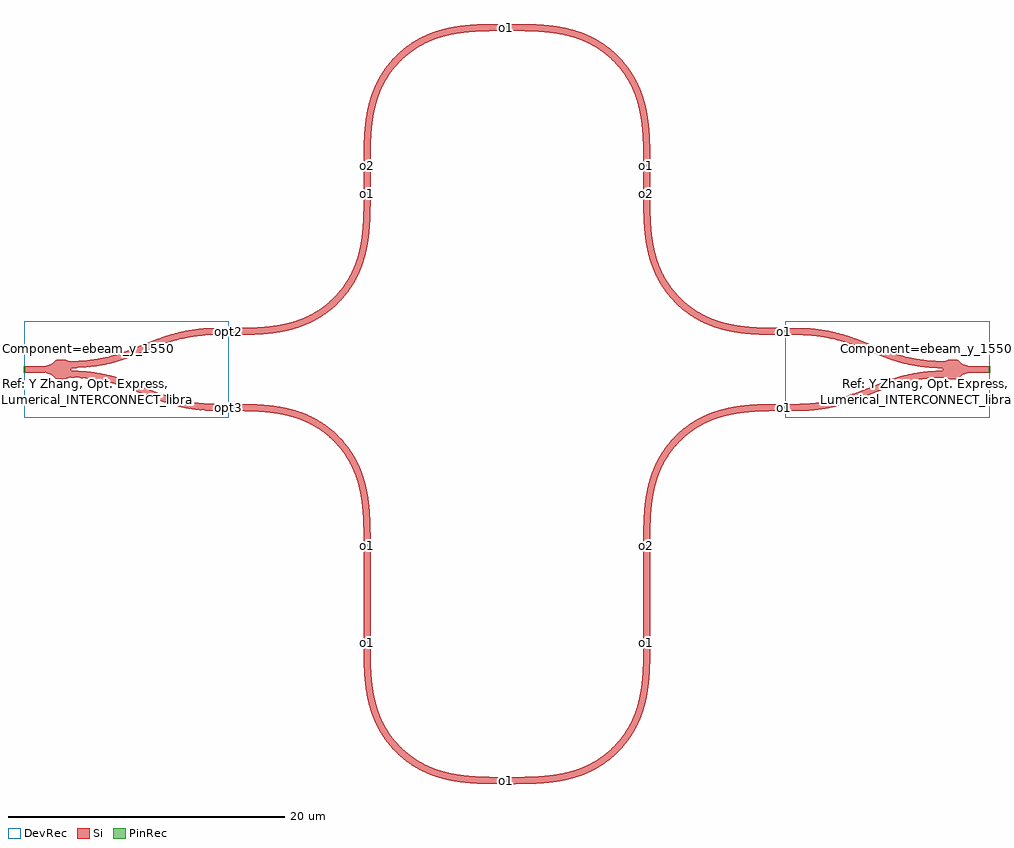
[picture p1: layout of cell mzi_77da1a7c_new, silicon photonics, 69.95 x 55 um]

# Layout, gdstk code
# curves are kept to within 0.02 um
import gdstk
lib = gdstk.Library(unit=1e-6, precision=1e-09)
def R(c, l, rs):  # rectangles x0, y0, x1, y1
    for r in rs: c.add(gdstk.rectangle(r[:2], r[2:], *l))
def P(c, l, *ps):  # polygons
    for p in ps: c.add(gdstk.Polygon(p, *l))
Si = (1, 0)
PinRec = (1, 10)
DevRec = (68, 0)

mzi_77da1a7c_new = lib.new_cell('mzi_77da1a7c_new')
R(mzi_77da1a7c_new, Si, [(27.4,-30,27.5,-29.5), (27.5,-30,27.64,-29.5), (17.15,-19.75,17.65,-12.75), (37.39,-19.75,37.89,-12.75), (6.5,-3,7.4,-2.5), (47.64,-3,47.65,-2.5), (47.65,-3,48.55,-2.5), (-7.4,-0.25,-6,0.25), (61.05,-0.25,62.45,0.25), (6.5,2.5,7.4,3), (47.64,2.5,47.65,3), (47.65,2.5,48.55,3), (17.15,12.75,17.65,14.75), (37.39,12.75,37.89,14.75), (27.4,24.5,27.5,25), (27.5,24.5,27.64,25)])
P(mzi_77da1a7c_new, Si, [(6.458,-3),(6.237,-2.997),(6.237,-2.497),(6.5,-2.5),(6.5,-3)],
  [(5.033,-2.908),(4.288,-2.79),(3.59,-2.634),(2.922,-2.442),(2.265,-2.21),(2.445,-1.744),(3.075,-1.966),(3.731,-2.154),(5.033,-2.404)],
  [(6.233,-2.997),(5.033,-2.908),(5.033,-2.404),(6.237,-2.497)],
  [(2.265,-2.21),(0.055,-1.356),(0.235,-0.89),(2.445,-1.744)],
  [(-0.762,-1.076),(-1.532,-0.874),(-2.334,-0.724),(-3.178,-0.63),(-4,-0.6),(-4,-0.1),(-3.16,-0.13),(-2.381,-0.212),(-1.565,-0.355),(-0.762,-0.555)],
  [(0.055,-1.356),(-0.762,-1.076),(-0.762,-0.555),(0.235,-0.89)],
  [(6.237,2.497),(6.237,2.997),(6.5,3),(6.5,2.5)],
  [(2.445,1.744),(2.267,2.211),(2.922,2.442),(3.59,2.634),(4.288,2.79),(5.033,2.908),(5.033,2.404),(3.731,2.154),(3.075,1.966)],
  [(5.033,2.404),(5.033,2.908),(6.237,2.997),(6.237,2.497)],
  [(0.235,0.89),(0.055,1.356),(2.265,2.21),(2.445,1.744)],
  [(-4,0.1),(-4,0.6),(-3.178,0.63),(-2.334,0.724),(-1.532,0.874),(-0.762,1.076),(-0.762,0.555),(-1.565,0.355),(-2.381,0.212),(-3.16,0.13)],
  [(-0.762,0.555),(-0.762,1.076),(0.055,1.356),(0.235,0.89)],
  [(-5.122,-0.662),(-5.442,-0.374),(-5.808,-0.255),(-6,-0.25),(-6,0.25),(-5.817,0.253),(-5.442,0.374),(-5.122,0.662)],
  [(-4.957,-0.703),(-5.122,-0.662),(-5.122,0.662),(-4.978,0.702),(-4.538,0.703),(-4.167,0.6),(-4,0.6),(-4,-0.6),(-4.167,-0.6),(-4.509,-0.701)],
  [(37.39,-12.703),(37.41,-11.064),(37.504,-9.743),(37.709,-8.521),(38.012,-7.489),(38.012,-9.709),(37.913,-10.989),(37.89,-12.75),(37.39,-12.75)],
  [(38.022,-7.463),(38.394,-6.62),(38.816,-5.909),(39.347,-5.214),(39.908,-4.633),(39.908,-5.338),(39.441,-5.893),(39.084,-6.417),(38.776,-6.972),(38.506,-7.594),(38.217,-8.544),(38.012,-9.709)],
  [(39.922,-4.62),(40.759,-3.953),(41.597,-3.46),(42.534,-3.067),(43.551,-2.788),(43.551,-3.3),(42.484,-3.616),(41.581,-4.033),(41.116,-4.316),(40.675,-4.634),(39.908,-5.338)],
  [(43.598,-2.778),(44.444,-2.637),(45.294,-2.554),(46.142,-2.514),(47.64,-2.5),(47.64,-3),(46.294,-3.01),(45.283,-3.056),(44.418,-3.145),(43.551,-3.3),(43.551,-2.788)],
  [(27.687,-30),(29.326,-29.98),(30.647,-29.886),(31.869,-29.681),(32.901,-29.378),(30.681,-29.378),(29.401,-29.477),(27.64,-29.5),(27.64,-30)],
  [(32.927,-29.368),(33.77,-28.996),(34.481,-28.574),(35.176,-28.043),(35.757,-27.482),(35.052,-27.482),(34.497,-27.949),(33.973,-28.306),(33.418,-28.614),(32.796,-28.884),(31.846,-29.173),(30.681,-29.378)],
  [(35.77,-27.468),(36.437,-26.631),(36.93,-25.793),(37.323,-24.856),(37.602,-23.839),(37.09,-23.839),(36.774,-24.906),(36.357,-25.809),(36.074,-26.274),(35.756,-26.715),(35.052,-27.482)],
  [(37.612,-23.792),(37.753,-22.946),(37.836,-22.096),(37.876,-21.248),(37.89,-19.75),(37.39,-19.75),(37.38,-21.096),(37.334,-22.107),(37.245,-22.972),(37.09,-23.839),(37.602,-23.839)],
  [(37.39,12.703),(37.41,11.064),(37.504,9.743),(37.709,8.521),(38.012,7.489),(38.012,9.709),(37.913,10.989),(37.89,12.75),(37.39,12.75)],
  [(38.022,7.463),(38.394,6.62),(38.816,5.909),(39.347,5.214),(39.908,4.633),(39.908,5.338),(39.441,5.893),(39.084,6.417),(38.776,6.972),(38.506,7.594),(38.217,8.544),(38.012,9.709)],
  [(39.922,4.62),(40.759,3.953),(41.597,3.46),(42.534,3.067),(43.551,2.788),(43.551,3.3),(42.484,3.616),(41.581,4.033),(41.116,4.316),(40.675,4.634),(39.908,5.338)],
  [(43.598,2.778),(44.444,2.637),(45.294,2.554),(46.142,2.514),(47.64,2.5),(47.64,3),(46.294,3.01),(45.283,3.056),(44.418,3.145),(43.551,3.3),(43.551,2.788)],
  [(27.687,25),(29.326,24.98),(30.647,24.886),(31.869,24.681),(32.901,24.378),(30.681,24.378),(29.401,24.477),(27.64,24.5),(27.64,25)],
  [(32.927,24.368),(33.77,23.996),(34.481,23.574),(35.176,23.043),(35.757,22.482),(35.052,22.482),(34.497,22.949),(33.973,23.306),(33.418,23.614),(32.796,23.884),(31.846,24.173),(30.681,24.378)],
  [(35.77,22.468),(36.437,21.631),(36.93,20.793),(37.323,19.856),(37.602,18.839),(37.09,18.839),(36.774,19.906),(36.357,20.809),(36.074,21.274),(35.756,21.715),(35.052,22.482)],
  [(37.612,18.792),(37.753,17.946),(37.836,17.096),(37.876,16.248),(37.89,14.75),(37.39,14.75),(37.38,16.096),(37.334,17.107),(37.245,17.972),(37.09,18.839),(37.602,18.839)],
  [(27.353,25),(25.714,24.98),(24.393,24.886),(23.171,24.681),(22.139,24.378),(24.359,24.378),(25.639,24.477),(27.4,24.5),(27.4,25)],
  [(22.113,24.368),(21.27,23.996),(20.559,23.574),(19.864,23.043),(19.283,22.482),(19.988,22.482),(20.543,22.949),(21.067,23.306),(21.622,23.614),(22.244,23.884),(23.194,24.173),(24.359,24.378)],
  [(19.27,22.468),(18.603,21.631),(18.11,20.793),(17.717,19.856),(17.438,18.839),(17.95,18.839),(18.266,19.906),(18.683,20.809),(18.966,21.274),(19.284,21.715),(19.988,22.482)],
  [(17.428,18.792),(17.287,17.946),(17.204,17.096),(17.164,16.248),(17.15,14.75),(17.65,14.75),(17.66,16.096),(17.706,17.107),(17.795,17.972),(17.95,18.839),(17.438,18.839)],
  [(7.447,2.5),(9.086,2.52),(10.407,2.614),(11.629,2.819),(12.661,3.122),(10.441,3.122),(9.161,3.023),(7.4,3),(7.4,2.5)],
  [(12.687,3.132),(13.53,3.504),(14.241,3.926),(14.936,4.457),(15.517,5.018),(14.812,5.018),(14.257,4.551),(13.733,4.194),(13.178,3.886),(12.556,3.616),(11.606,3.327),(10.441,3.122)],
  [(15.53,5.032),(16.197,5.869),(16.69,6.707),(17.083,7.644),(17.362,8.661),(16.85,8.661),(16.534,7.594),(16.117,6.691),(15.834,6.226),(15.516,5.785),(14.812,5.018)],
  [(17.372,8.708),(17.513,9.554),(17.596,10.404),(17.636,11.252),(17.65,12.75),(17.15,12.75),(17.14,11.404),(17.094,10.393),(17.005,9.528),(16.85,8.661),(17.362,8.661)],
  [(17.15,-19.797),(17.17,-21.436),(17.264,-22.757),(17.469,-23.979),(17.772,-25.011),(17.772,-22.791),(17.673,-21.511),(17.65,-19.75),(17.15,-19.75)],
  [(17.782,-25.037),(18.154,-25.88),(18.576,-26.591),(19.107,-27.286),(19.668,-27.867),(19.668,-27.162),(19.201,-26.607),(18.844,-26.083),(18.536,-25.528),(18.266,-24.906),(17.977,-23.956),(17.772,-22.791)],
  [(19.682,-27.88),(20.519,-28.547),(21.357,-29.04),(22.294,-29.433),(23.311,-29.712),(23.311,-29.2),(22.244,-28.884),(21.341,-28.467),(20.876,-28.184),(20.435,-27.866),(19.668,-27.162)],
  [(23.358,-29.722),(24.204,-29.863),(25.054,-29.946),(25.902,-29.986),(27.4,-30),(27.4,-29.5),(26.054,-29.49),(25.043,-29.444),(24.178,-29.355),(23.311,-29.2),(23.311,-29.712)],
  [(7.447,-2.5),(9.086,-2.52),(10.407,-2.614),(11.629,-2.819),(12.661,-3.122),(10.441,-3.122),(9.161,-3.023),(7.4,-3),(7.4,-2.5)],
  [(12.687,-3.132),(13.53,-3.504),(14.241,-3.926),(14.936,-4.457),(15.517,-5.018),(14.812,-5.018),(14.257,-4.551),(13.733,-4.194),(13.178,-3.886),(12.556,-3.616),(11.606,-3.327),(10.441,-3.122)],
  [(15.53,-5.032),(16.197,-5.869),(16.69,-6.707),(17.083,-7.644),(17.362,-8.661),(16.85,-8.661),(16.534,-7.594),(16.117,-6.691),(15.834,-6.226),(15.516,-5.785),(14.812,-5.018)],
  [(17.372,-8.708),(17.513,-9.554),(17.596,-10.404),(17.636,-11.252),(17.65,-12.75),(17.15,-12.75),(17.14,-11.404),(17.094,-10.393),(17.005,-9.528),(16.85,-8.661),(17.362,-8.661)],
  [(48.592,-3),(48.813,-2.997),(48.813,-2.497),(48.55,-2.5),(48.55,-3)],
  [(50.017,-2.908),(50.762,-2.79),(51.46,-2.634),(52.128,-2.442),(52.785,-2.21),(52.605,-1.744),(51.975,-1.966),(51.319,-2.154),(50.017,-2.404)],
  [(48.817,-2.997),(50.017,-2.908),(50.017,-2.404),(48.813,-2.497)],
  [(52.785,-2.21),(54.995,-1.356),(54.815,-0.89),(52.605,-1.744)],
  [(55.812,-1.076),(56.582,-0.874),(57.384,-0.724),(58.228,-0.63),(59.05,-0.6),(59.05,-0.1),(58.21,-0.13),(57.431,-0.212),(56.615,-0.355),(55.812,-0.555)],
  [(54.995,-1.356),(55.812,-1.076),(55.812,-0.555),(54.815,-0.89)],
  [(48.813,2.497),(48.813,2.997),(48.55,3),(48.55,2.5)],
  [(52.605,1.744),(52.783,2.211),(52.128,2.442),(51.46,2.634),(50.762,2.79),(50.017,2.908),(50.017,2.404),(51.319,2.154),(51.975,1.966)],
  [(50.017,2.404),(50.017,2.908),(48.813,2.997),(48.813,2.497)],
  [(54.815,0.89),(54.995,1.356),(52.785,2.21),(52.605,1.744)],
  [(59.05,0.1),(59.05,0.6),(58.228,0.63),(57.384,0.724),(56.582,0.874),(55.812,1.076),(55.812,0.555),(56.615,0.355),(57.431,0.212),(58.21,0.13)],
  [(55.812,0.555),(55.812,1.076),(54.995,1.356),(54.815,0.89)],
  [(60.172,-0.662),(60.492,-0.374),(60.858,-0.255),(61.05,-0.25),(61.05,0.25),(60.867,0.253),(60.492,0.374),(60.172,0.662)],
  [(60.007,-0.703),(60.172,-0.662),(60.172,0.662),(60.028,0.702),(59.588,0.703),(59.217,0.6),(59.05,0.6),(59.05,-0.6),(59.217,-0.6),(59.559,-0.701)])
R(mzi_77da1a7c_new, DevRec, [(27.4,-30,27.5,-29.5), (27.5,-30,27.64,-29.5), (17.15,-19.75,17.65,-12.75), (37.39,-19.75,37.89,-12.75), (-7.4,-3.5,7.4,3.5), (47.65,-3.5,62.45,3.5), (47.64,-3,47.65,-2.5), (47.64,2.5,47.65,3), (17.15,12.75,17.65,14.75), (37.39,12.75,37.89,14.75), (27.4,24.5,27.5,25), (27.5,24.5,27.64,25)])
P(mzi_77da1a7c_new, DevRec, [(37.39,-12.703),(37.41,-11.064),(37.504,-9.743),(37.709,-8.521),(38.012,-7.489),(38.012,-9.709),(37.913,-10.989),(37.89,-12.75),(37.39,-12.75)],
  [(38.022,-7.463),(38.394,-6.62),(38.816,-5.909),(39.347,-5.214),(39.908,-4.633),(39.908,-5.338),(39.441,-5.893),(39.084,-6.417),(38.776,-6.972),(38.506,-7.594),(38.217,-8.544),(38.012,-9.709)],
  [(39.922,-4.62),(40.759,-3.953),(41.597,-3.46),(42.534,-3.067),(43.551,-2.788),(43.551,-3.3),(42.484,-3.616),(41.581,-4.033),(41.116,-4.316),(40.675,-4.634),(39.908,-5.338)],
  [(43.598,-2.778),(44.444,-2.637),(45.294,-2.554),(46.142,-2.514),(47.64,-2.5),(47.64,-3),(46.294,-3.01),(45.283,-3.056),(44.418,-3.145),(43.551,-3.3),(43.551,-2.788)],
  [(27.687,-30),(29.326,-29.98),(30.647,-29.886),(31.869,-29.681),(32.901,-29.378),(30.681,-29.378),(29.401,-29.477),(27.64,-29.5),(27.64,-30)],
  [(32.927,-29.368),(33.77,-28.996),(34.481,-28.574),(35.176,-28.043),(35.757,-27.482),(35.052,-27.482),(34.497,-27.949),(33.973,-28.306),(33.418,-28.614),(32.796,-28.884),(31.846,-29.173),(30.681,-29.378)],
  [(35.77,-27.468),(36.437,-26.631),(36.93,-25.793),(37.323,-24.856),(37.602,-23.839),(37.09,-23.839),(36.774,-24.906),(36.357,-25.809),(36.074,-26.274),(35.756,-26.715),(35.052,-27.482)],
  [(37.612,-23.792),(37.753,-22.946),(37.836,-22.096),(37.876,-21.248),(37.89,-19.75),(37.39,-19.75),(37.38,-21.096),(37.334,-22.107),(37.245,-22.972),(37.09,-23.839),(37.602,-23.839)],
  [(37.39,12.703),(37.41,11.064),(37.504,9.743),(37.709,8.521),(38.012,7.489),(38.012,9.709),(37.913,10.989),(37.89,12.75),(37.39,12.75)],
  [(38.022,7.463),(38.394,6.62),(38.816,5.909),(39.347,5.214),(39.908,4.633),(39.908,5.338),(39.441,5.893),(39.084,6.417),(38.776,6.972),(38.506,7.594),(38.217,8.544),(38.012,9.709)],
  [(39.922,4.62),(40.759,3.953),(41.597,3.46),(42.534,3.067),(43.551,2.788),(43.551,3.3),(42.484,3.616),(41.581,4.033),(41.116,4.316),(40.675,4.634),(39.908,5.338)],
  [(43.598,2.778),(44.444,2.637),(45.294,2.554),(46.142,2.514),(47.64,2.5),(47.64,3),(46.294,3.01),(45.283,3.056),(44.418,3.145),(43.551,3.3),(43.551,2.788)],
  [(27.687,25),(29.326,24.98),(30.647,24.886),(31.869,24.681),(32.901,24.378),(30.681,24.378),(29.401,24.477),(27.64,24.5),(27.64,25)],
  [(32.927,24.368),(33.77,23.996),(34.481,23.574),(35.176,23.043),(35.757,22.482),(35.052,22.482),(34.497,22.949),(33.973,23.306),(33.418,23.614),(32.796,23.884),(31.846,24.173),(30.681,24.378)],
  [(35.77,22.468),(36.437,21.631),(36.93,20.793),(37.323,19.856),(37.602,18.839),(37.09,18.839),(36.774,19.906),(36.357,20.809),(36.074,21.274),(35.756,21.715),(35.052,22.482)],
  [(37.612,18.792),(37.753,17.946),(37.836,17.096),(37.876,16.248),(37.89,14.75),(37.39,14.75),(37.38,16.096),(37.334,17.107),(37.245,17.972),(37.09,18.839),(37.602,18.839)],
  [(27.353,25),(25.714,24.98),(24.393,24.886),(23.171,24.681),(22.139,24.378),(24.359,24.378),(25.639,24.477),(27.4,24.5),(27.4,25)],
  [(22.113,24.368),(21.27,23.996),(20.559,23.574),(19.864,23.043),(19.283,22.482),(19.988,22.482),(20.543,22.949),(21.067,23.306),(21.622,23.614),(22.244,23.884),(23.194,24.173),(24.359,24.378)],
  [(19.27,22.468),(18.603,21.631),(18.11,20.793),(17.717,19.856),(17.438,18.839),(17.95,18.839),(18.266,19.906),(18.683,20.809),(18.966,21.274),(19.284,21.715),(19.988,22.482)],
  [(17.428,18.792),(17.287,17.946),(17.204,17.096),(17.164,16.248),(17.15,14.75),(17.65,14.75),(17.66,16.096),(17.706,17.107),(17.795,17.972),(17.95,18.839),(17.438,18.839)],
  [(7.447,2.5),(9.086,2.52),(10.407,2.614),(11.629,2.819),(12.661,3.122),(10.441,3.122),(9.161,3.023),(7.4,3),(7.4,2.5)],
  [(12.687,3.132),(13.53,3.504),(14.241,3.926),(14.936,4.457),(15.517,5.018),(14.812,5.018),(14.257,4.551),(13.733,4.194),(13.178,3.886),(12.556,3.616),(11.606,3.327),(10.441,3.122)],
  [(15.53,5.032),(16.197,5.869),(16.69,6.707),(17.083,7.644),(17.362,8.661),(16.85,8.661),(16.534,7.594),(16.117,6.691),(15.834,6.226),(15.516,5.785),(14.812,5.018)],
  [(17.372,8.708),(17.513,9.554),(17.596,10.404),(17.636,11.252),(17.65,12.75),(17.15,12.75),(17.14,11.404),(17.094,10.393),(17.005,9.528),(16.85,8.661),(17.362,8.661)],
  [(17.15,-19.797),(17.17,-21.436),(17.264,-22.757),(17.469,-23.979),(17.772,-25.011),(17.772,-22.791),(17.673,-21.511),(17.65,-19.75),(17.15,-19.75)],
  [(17.782,-25.037),(18.154,-25.88),(18.576,-26.591),(19.107,-27.286),(19.668,-27.867),(19.668,-27.162),(19.201,-26.607),(18.844,-26.083),(18.536,-25.528),(18.266,-24.906),(17.977,-23.956),(17.772,-22.791)],
  [(19.682,-27.88),(20.519,-28.547),(21.357,-29.04),(22.294,-29.433),(23.311,-29.712),(23.311,-29.2),(22.244,-28.884),(21.341,-28.467),(20.876,-28.184),(20.435,-27.866),(19.668,-27.162)],
  [(23.358,-29.722),(24.204,-29.863),(25.054,-29.946),(25.902,-29.986),(27.4,-30),(27.4,-29.5),(26.054,-29.49),(25.043,-29.444),(24.178,-29.355),(23.311,-29.2),(23.311,-29.712)],
  [(7.447,-2.5),(9.086,-2.52),(10.407,-2.614),(11.629,-2.819),(12.661,-3.122),(10.441,-3.122),(9.161,-3.023),(7.4,-3),(7.4,-2.5)],
  [(12.687,-3.132),(13.53,-3.504),(14.241,-3.926),(14.936,-4.457),(15.517,-5.018),(14.812,-5.018),(14.257,-4.551),(13.733,-4.194),(13.178,-3.886),(12.556,-3.616),(11.606,-3.327),(10.441,-3.122)],
  [(15.53,-5.032),(16.197,-5.869),(16.69,-6.707),(17.083,-7.644),(17.362,-8.661),(16.85,-8.661),(16.534,-7.594),(16.117,-6.691),(15.834,-6.226),(15.516,-5.785),(14.812,-5.018)],
  [(17.372,-8.708),(17.513,-9.554),(17.596,-10.404),(17.636,-11.252),(17.65,-12.75),(17.15,-12.75),(17.14,-11.404),(17.094,-10.393),(17.005,-9.528),(16.85,-8.661),(17.362,-8.661)])
mzi_77da1a7c_new.add(gdstk.FlexPath([(-7.35,0),(-7.45,0)], 0.5, ends="flush", simple_path=True, layer=1, datatype=10))  # PinRec
mzi_77da1a7c_new.add(gdstk.FlexPath([(7.35,2.75),(7.45,2.75)], 0.5, ends="flush", simple_path=True, layer=1, datatype=10))  # PinRec
mzi_77da1a7c_new.add(gdstk.FlexPath([(7.35,-2.75),(7.45,-2.75)], 0.5, ends="flush", simple_path=True, layer=1, datatype=10))  # PinRec
mzi_77da1a7c_new.add(gdstk.FlexPath([(47.69,-2.75),(47.59,-2.75)], 0.5, ends="flush", simple_path=True, layer=1, datatype=10))  # PinRec
mzi_77da1a7c_new.add(gdstk.FlexPath([(47.6,-2.75),(47.7,-2.75)], 0.5, ends="flush", simple_path=True, layer=1, datatype=10))  # PinRec
mzi_77da1a7c_new.add(gdstk.FlexPath([(37.64,-19.7),(37.64,-19.8)], 0.5, ends="flush", simple_path=True, layer=1, datatype=10))  # PinRec
mzi_77da1a7c_new.add(gdstk.FlexPath([(37.64,-12.8),(37.64,-12.7)], 0.5, ends="flush", simple_path=True, layer=1, datatype=10))  # PinRec
mzi_77da1a7c_new.add(gdstk.FlexPath([(27.55,-29.75),(27.45,-29.75)], 0.5, ends="flush", simple_path=True, layer=1, datatype=10))  # PinRec
mzi_77da1a7c_new.add(gdstk.FlexPath([(27.59,-29.75),(27.69,-29.75)], 0.5, ends="flush", simple_path=True, layer=1, datatype=10))  # PinRec
mzi_77da1a7c_new.add(gdstk.FlexPath([(37.64,-12.7),(37.64,-12.8)], 0.5, ends="flush", simple_path=True, layer=1, datatype=10))  # PinRec
mzi_77da1a7c_new.add(gdstk.FlexPath([(47.59,-2.75),(47.69,-2.75)], 0.5, ends="flush", simple_path=True, layer=1, datatype=10))  # PinRec
mzi_77da1a7c_new.add(gdstk.FlexPath([(27.69,-29.75),(27.59,-29.75)], 0.5, ends="flush", simple_path=True, layer=1, datatype=10))  # PinRec
mzi_77da1a7c_new.add(gdstk.FlexPath([(37.64,-19.8),(37.64,-19.7)], 0.5, ends="flush", simple_path=True, layer=1, datatype=10))  # PinRec
mzi_77da1a7c_new.add(gdstk.FlexPath([(47.69,2.75),(47.59,2.75)], 0.5, ends="flush", simple_path=True, layer=1, datatype=10))  # PinRec
mzi_77da1a7c_new.add(gdstk.FlexPath([(47.6,2.75),(47.7,2.75)], 0.5, ends="flush", simple_path=True, layer=1, datatype=10))  # PinRec
mzi_77da1a7c_new.add(gdstk.FlexPath([(37.64,14.7),(37.64,14.8)], 0.5, ends="flush", simple_path=True, layer=1, datatype=10))  # PinRec
mzi_77da1a7c_new.add(gdstk.FlexPath([(37.64,12.8),(37.64,12.7)], 0.5, ends="flush", simple_path=True, layer=1, datatype=10))  # PinRec
mzi_77da1a7c_new.add(gdstk.FlexPath([(27.55,24.75),(27.45,24.75)], 0.5, ends="flush", simple_path=True, layer=1, datatype=10))  # PinRec
mzi_77da1a7c_new.add(gdstk.FlexPath([(27.59,24.75),(27.69,24.75)], 0.5, ends="flush", simple_path=True, layer=1, datatype=10))  # PinRec
mzi_77da1a7c_new.add(gdstk.FlexPath([(37.64,12.7),(37.64,12.8)], 0.5, ends="flush", simple_path=True, layer=1, datatype=10))  # PinRec
mzi_77da1a7c_new.add(gdstk.FlexPath([(47.59,2.75),(47.69,2.75)], 0.5, ends="flush", simple_path=True, layer=1, datatype=10))  # PinRec
mzi_77da1a7c_new.add(gdstk.FlexPath([(27.69,24.75),(27.59,24.75)], 0.5, ends="flush", simple_path=True, layer=1, datatype=10))  # PinRec
mzi_77da1a7c_new.add(gdstk.FlexPath([(37.64,14.8),(37.64,14.7)], 0.5, ends="flush", simple_path=True, layer=1, datatype=10))  # PinRec
mzi_77da1a7c_new.add(gdstk.FlexPath([(27.45,24.75),(27.35,24.75)], 0.5, ends="flush", simple_path=True, layer=1, datatype=10))  # PinRec
mzi_77da1a7c_new.add(gdstk.FlexPath([(27.45,24.75),(27.55,24.75)], 0.5, ends="flush", simple_path=True, layer=1, datatype=10))  # PinRec
mzi_77da1a7c_new.add(gdstk.FlexPath([(27.35,24.75),(27.45,24.75)], 0.5, ends="flush", simple_path=True, layer=1, datatype=10))  # PinRec
mzi_77da1a7c_new.add(gdstk.FlexPath([(17.4,14.8),(17.4,14.7)], 0.5, ends="flush", simple_path=True, layer=1, datatype=10))  # PinRec
mzi_77da1a7c_new.add(gdstk.FlexPath([(17.4,12.8),(17.4,12.7)], 0.5, ends="flush", simple_path=True, layer=1, datatype=10))  # PinRec
mzi_77da1a7c_new.add(gdstk.FlexPath([(17.4,14.7),(17.4,14.8)], 0.5, ends="flush", simple_path=True, layer=1, datatype=10))  # PinRec
mzi_77da1a7c_new.add(gdstk.FlexPath([(7.45,2.75),(7.35,2.75)], 0.5, ends="flush", simple_path=True, layer=1, datatype=10))  # PinRec
mzi_77da1a7c_new.add(gdstk.FlexPath([(17.4,12.7),(17.4,12.8)], 0.5, ends="flush", simple_path=True, layer=1, datatype=10))  # PinRec
mzi_77da1a7c_new.add(gdstk.FlexPath([(27.45,-29.75),(27.35,-29.75)], 0.5, ends="flush", simple_path=True, layer=1, datatype=10))  # PinRec
mzi_77da1a7c_new.add(gdstk.FlexPath([(27.45,-29.75),(27.55,-29.75)], 0.5, ends="flush", simple_path=True, layer=1, datatype=10))  # PinRec
mzi_77da1a7c_new.add(gdstk.FlexPath([(17.4,-19.8),(17.4,-19.7)], 0.5, ends="flush", simple_path=True, layer=1, datatype=10))  # PinRec
mzi_77da1a7c_new.add(gdstk.FlexPath([(27.35,-29.75),(27.45,-29.75)], 0.5, ends="flush", simple_path=True, layer=1, datatype=10))  # PinRec
mzi_77da1a7c_new.add(gdstk.FlexPath([(17.4,-12.8),(17.4,-12.7)], 0.5, ends="flush", simple_path=True, layer=1, datatype=10))  # PinRec
mzi_77da1a7c_new.add(gdstk.FlexPath([(17.4,-19.7),(17.4,-19.8)], 0.5, ends="flush", simple_path=True, layer=1, datatype=10))  # PinRec
mzi_77da1a7c_new.add(gdstk.FlexPath([(7.45,-2.75),(7.35,-2.75)], 0.5, ends="flush", simple_path=True, layer=1, datatype=10))  # PinRec
mzi_77da1a7c_new.add(gdstk.FlexPath([(17.4,-12.7),(17.4,-12.8)], 0.5, ends="flush", simple_path=True, layer=1, datatype=10))  # PinRec
mzi_77da1a7c_new.add(gdstk.FlexPath([(62.4,0),(62.5,0)], 0.5, ends="flush", simple_path=True, layer=1, datatype=10))  # PinRec
mzi_77da1a7c_new.add(gdstk.FlexPath([(47.7,2.75),(47.6,2.75)], 0.5, ends="flush", simple_path=True, layer=1, datatype=10))  # PinRec
mzi_77da1a7c_new.add(gdstk.FlexPath([(47.7,-2.75),(47.6,-2.75)], 0.5, ends="flush", simple_path=True, layer=1, datatype=10))  # PinRec
mzi_77da1a7c_new.add(gdstk.Label('Ref: Y Zhang, Opt. Express, 21/1, 2013', (-7.5,-1), layer=10, texttype=0))
mzi_77da1a7c_new.add(gdstk.Label('opt2', (7.4,2.75), layer=1, texttype=10))
mzi_77da1a7c_new.add(gdstk.Label('opt3', (7.4,-2.75), layer=1, texttype=10))
mzi_77da1a7c_new.add(gdstk.Label('opt1', (-7.4,0), layer=1, texttype=10))
mzi_77da1a7c_new.add(gdstk.Label('Component=ebeam_y_1550', (-6,1.5), layer=68, texttype=0))
mzi_77da1a7c_new.add(gdstk.Label('Lumerical_INTERCONNECT_library=Design kits/ebeam', (-6.86,-2.19), layer=68, texttype=0))
mzi_77da1a7c_new.add(gdstk.Label('o1', (47.64,-2.75), layer=1, texttype=10))
mzi_77da1a7c_new.add(gdstk.Label('o2', (47.65,-2.75), layer=1, texttype=10))
mzi_77da1a7c_new.add(gdstk.Label('o1', (37.64,-19.75), layer=1, texttype=10))
mzi_77da1a7c_new.add(gdstk.Label('o2', (37.64,-12.75), layer=1, texttype=10))
mzi_77da1a7c_new.add(gdstk.Label('o1', (27.5,-29.75), layer=1, texttype=10))
mzi_77da1a7c_new.add(gdstk.Label('o2', (27.64,-29.75), layer=1, texttype=10))
mzi_77da1a7c_new.add(gdstk.Label('o1', (37.64,-12.75), layer=1, texttype=10))
mzi_77da1a7c_new.add(gdstk.Label('o2', (47.64,-2.75), layer=1, texttype=10))
mzi_77da1a7c_new.add(gdstk.Label('o1', (27.64,-29.75), layer=1, texttype=10))
mzi_77da1a7c_new.add(gdstk.Label('o2', (37.64,-19.75), layer=1, texttype=10))
mzi_77da1a7c_new.add(gdstk.Label('o1', (47.64,2.75), layer=1, texttype=10))
mzi_77da1a7c_new.add(gdstk.Label('o2', (47.65,2.75), layer=1, texttype=10))
mzi_77da1a7c_new.add(gdstk.Label('o1', (37.64,14.75), layer=1, texttype=10))
mzi_77da1a7c_new.add(gdstk.Label('o2', (37.64,12.75), layer=1, texttype=10))
mzi_77da1a7c_new.add(gdstk.Label('o1', (27.5,24.75), layer=1, texttype=10))
mzi_77da1a7c_new.add(gdstk.Label('o2', (27.64,24.75), layer=1, texttype=10))
mzi_77da1a7c_new.add(gdstk.Label('o1', (37.64,12.75), layer=1, texttype=10))
mzi_77da1a7c_new.add(gdstk.Label('o2', (47.64,2.75), layer=1, texttype=10))
mzi_77da1a7c_new.add(gdstk.Label('o1', (27.64,24.75), layer=1, texttype=10))
mzi_77da1a7c_new.add(gdstk.Label('o2', (37.64,14.75), layer=1, texttype=10))
mzi_77da1a7c_new.add(gdstk.Label('o1', (27.4,24.75), layer=1, texttype=10))
mzi_77da1a7c_new.add(gdstk.Label('o2', (27.5,24.75), layer=1, texttype=10))
mzi_77da1a7c_new.add(gdstk.Label('o1', (27.4,24.75), layer=1, texttype=10))
mzi_77da1a7c_new.add(gdstk.Label('o2', (17.4,14.75), layer=1, texttype=10))
mzi_77da1a7c_new.add(gdstk.Label('o1', (17.4,12.75), layer=1, texttype=10))
mzi_77da1a7c_new.add(gdstk.Label('o2', (17.4,14.75), layer=1, texttype=10))
mzi_77da1a7c_new.add(gdstk.Label('o1', (7.4,2.75), layer=1, texttype=10))
mzi_77da1a7c_new.add(gdstk.Label('o2', (17.4,12.75), layer=1, texttype=10))
mzi_77da1a7c_new.add(gdstk.Label('o1', (27.4,-29.75), layer=1, texttype=10))
mzi_77da1a7c_new.add(gdstk.Label('o2', (27.5,-29.75), layer=1, texttype=10))
mzi_77da1a7c_new.add(gdstk.Label('o1', (17.4,-19.75), layer=1, texttype=10))
mzi_77da1a7c_new.add(gdstk.Label('o2', (27.4,-29.75), layer=1, texttype=10))
mzi_77da1a7c_new.add(gdstk.Label('o1', (17.4,-12.75), layer=1, texttype=10))
mzi_77da1a7c_new.add(gdstk.Label('o2', (17.4,-19.75), layer=1, texttype=10))
mzi_77da1a7c_new.add(gdstk.Label('o1', (7.4,-2.75), layer=1, texttype=10))
mzi_77da1a7c_new.add(gdstk.Label('o2', (17.4,-12.75), layer=1, texttype=10))
mzi_77da1a7c_new.add(gdstk.Label('Ref: Y Zhang, Opt. Express, 21/1, 2013', (62.55,-1), layer=10, texttype=0))
mzi_77da1a7c_new.add(gdstk.Label('opt2', (47.65,2.75), layer=1, texttype=10))
mzi_77da1a7c_new.add(gdstk.Label('opt3', (47.65,-2.75), layer=1, texttype=10))
mzi_77da1a7c_new.add(gdstk.Label('opt1', (62.45,0), layer=1, texttype=10))
mzi_77da1a7c_new.add(gdstk.Label('Component=ebeam_y_1550', (61.05,1.5), layer=68, texttype=0))
mzi_77da1a7c_new.add(gdstk.Label('Lumerical_INTERCONNECT_library=Design kits/ebeam', (61.91,-2.19), layer=68, texttype=0))

lib.write_gds('mzi_77da1a7c_new.gds')
